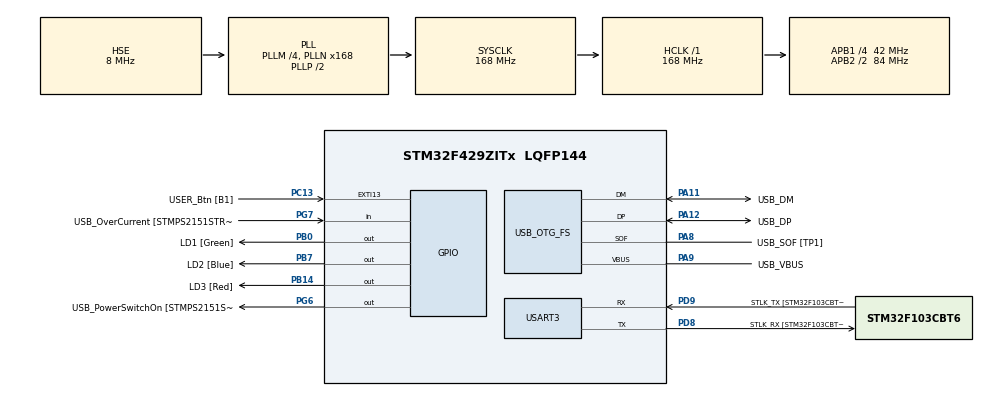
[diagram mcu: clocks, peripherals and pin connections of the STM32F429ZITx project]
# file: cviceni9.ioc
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Mcu.Family=STM32F4
Mcu.Name=STM32F429ZITx
Mcu.Package=LQFP144
NVIC.OTG_FS_IRQn=true\:0\:0\:false\:false\:true\:true\:true
NVIC.PriorityGroup=NVIC_PRIORITYGROUP_4
PA1.GPIO_Label=RMII_REF_CLK [LAN8742A-CZ-TR_REFCLK0]
PA1.Signal=ETH_REF_CLK
PA10.GPIO_Label=USB_ID
PA10.Signal=USB_OTG_FS_ID
PA11.GPIO_Label=USB_DM
PA11.Mode=Device_Only
PA11.Signal=USB_OTG_FS_DM
PA12.GPIO_Label=USB_DP
PA12.Mode=Device_Only
PA12.Signal=USB_OTG_FS_DP
PA13.GPIO_Label=TMS
PA13.Mode=Serial_Wire
PA13.Signal=SYS_JTMS-SWDIO
PA14.GPIO_Label=TCK
PA14.Mode=Serial_Wire
PA14.Signal=SYS_JTCK-SWCLK
PA2.GPIO_Label=RMII_MDIO [LAN8742A-CZ-TR_MDIO]
PA2.Signal=ETH_MDIO
PA7.GPIO_Label=RMII_CRS_DV [LAN8742A-CZ-TR_CRS_DV]
PA7.Signal=ETH_CRS_DV
PA8.GPIO_Label=USB_SOF [TP1]
PA8.Mode=Activate_SOF_FS
PA8.Signal=USB_OTG_FS_SOF
PA9.GPIO_Label=USB_VBUS
PA9.Mode=Activate_VBUS
PA9.Signal=USB_OTG_FS_VBUS
PB0.GPIO_Label=LD1 [Green]
PB0.Signal=GPIO_Output
PB13.GPIO_Label=RMII_TXD1 [LAN8742A-CZ-TR_TXD1]
PB13.Signal=ETH_TXD1
PB14.GPIO_Label=LD3 [Red]
PB14.Signal=GPIO_Output
PB7.GPIO_Label=LD2 [Blue]
PB7.Signal=GPIO_Output
PC1.GPIO_Label=RMII_MDC [LAN8742A-CZ-TR_MDC]
PC1.Signal=ETH_MDC
PC13.GPIO_Label=USER_Btn [B1]
PC13.Signal=GPXTI13
PC14/OSC32_IN.Mode=LSE-External-Oscillator
PC14/OSC32_IN.Signal=RCC_OSC32_IN
PC15/OSC32_OUT.Mode=LSE-External-Oscillator
PC15/OSC32_OUT.Signal=RCC_OSC32_OUT
PC4.GPIO_Label=RMII_RXD0 [LAN8742A-CZ-TR_RXD0]
PC4.Signal=ETH_RXD0
PC5.GPIO_Label=RMII_RXD1 [LAN8742A-CZ-TR_RXD1]
PC5.Signal=ETH_RXD1
PD8.GPIO_Label=STLK_RX [STM32F103CBT6_PA3]
PD8.Mode=Asynchronous
PD8.Signal=USART3_TX
PD9.GPIO_Label=STLK_TX [STM32F103CBT6_PA2]
PD9.Mode=Asynchronous
PD9.Signal=USART3_RX
PG11.GPIO_Label=RMII_TX_EN [LAN8742A-CZ-TR_TXEN]
PG11.Signal=ETH_TX_EN
PG13.GPIO_Label=RMII_TXD0 [LAN8742A-CZ-TR_TXD0]
PG13.Signal=ETH_TXD0
PG6.GPIO_Label=USB_PowerSwitchOn [STMPS2151STR_EN]
PG6.Signal=GPIO_Output
PG7.GPIO_Label=USB_OverCurrent [STMPS2151STR_FAULT]
PG7.Signal=GPIO_Input
PH0/OSC_IN.GPIO_Label=MCO [STM32F103CBT6_PA8]
PH0/OSC_IN.Mode=HSE-External-Clock-Source
PH0/OSC_IN.Signal=RCC_OSC_IN
PH1/OSC_OUT.Mode=HSE-External-Clock-Source
PH1/OSC_OUT.Signal=RCC_OSC_OUT
ProjectManager.HeapSize=0x200
ProjectManager.StackSize=0x400
ProjectManager.TargetToolchain=STM32CubeIDE
RCC.48MHZClocksFreq_Value=48000000
RCC.AHBFreq_Value=168000000
RCC.APB1CLKDivider=RCC_HCLK_DIV4
RCC.APB1Freq_Value=42000000
RCC.APB1TimFreq_Value=84000000
RCC.APB2CLKDivider=RCC_HCLK_DIV2
RCC.APB2Freq_Value=84000000
RCC.APB2TimCLKDivider=2
RCC.APB2TimFreq_Value=168000000
RCC.CortexFreq_Value=168000000
RCC.HCLKFreq_Value=168000000
RCC.HSE_VALUE=8000000
RCC.HSI_VALUE=16000000
RCC.PLLM=4
RCC.PLLMUL=RCC_PLL_MUL9
RCC.PLLN=168
RCC.PLLQ=7
RCC.PRESCALERUSB=RCC_USBCLKSOURCE_PLL_DIV1_5
RCC.SYSCLKFreq_VALUE=168000000
RCC.SYSCLKSource=RCC_SYSCLKSOURCE_PLLCLK
RCC.SYSCLKSourceVirtual=RCC_SYSCLKSOURCE_PLLCLK
RCC.USBFreq_Value=48000000
RCC.VCOOutputFreq_Value=336000000
USART3.VirtualMode=VM_ASYNC
USB_DEVICE.CLASS_NAME_FS=HID
USB_DEVICE.VirtualMode-HID_FS=Hid
USB_DEVICE.VirtualModeFS=Hid_FS
USB_OTG_FS.VirtualMode=Device_Only
VP_USB_DEVICE_VS_USB_DEVICE_HID_FS.Mode=HID_FS
board=NUCLEO-F429ZI

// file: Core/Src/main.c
/* USER CODE BEGIN Header */
/**
  ******************************************************************************
  * @file           : main.c
  * @brief          : Main program body
  ******************************************************************************
  * @attention
  *
  * <h2><center>&copy; Copyright (c) 2021 STMicroelectronics.
  * All rights reserved.</center></h2>
  *
  * This software component is licensed by ST under BSD 3-Clause license,
  * the "License"; You may not use this file except in compliance with the
  * License. You may obtain a copy of the License at:
  *                        opensource.org/licenses/BSD-3-Clause
  *
  ******************************************************************************
  */
/* USER CODE END Header */
#include "main.h"
#include "usb_device.h"

/* USER CODE BEGIN Includes */
#include "usbd_hid.h"
#include <math.h>
#include <stdbool.h>

/* USER CODE END Includes */

UART_HandleTypeDef huart3;

/* USER CODE BEGIN PV */

extern USBD_HandleTypeDef hUsbDeviceFS;

/* USER CODE END PV */

void SystemClock_Config(void);
static void MX_GPIO_Init(void);
static void MX_USART3_UART_Init(void);

/* USER CODE BEGIN 0 */
static void step(int  x,  int  y,  bool  btn){
	uint8_t buff[4];
	if(btn == 1){
		buff[0] = 0x01; // stiskni leve tlacitko
	}
	else {
		buff[0] = 0x00;
	}
	buff[1] = (int8_t)(x);
	buff[2] = (int8_t)(y);
	buff[3] = 0; // bez scrollu
	USBD_HID_SendReport(&hUsbDeviceFS, buff, sizeof(buff));
	HAL_Delay(USBD_HID_GetPollingInterval(&hUsbDeviceFS));
}

static void drawCircle(float radius, float maxPhi, float minPhi){
	float x, y, dx, dy;
	int16_t sx = 0;
	int16_t sy = (int16_t)(radius);
	float radStep = (2*maxPhi)/35;
	for(float phi = minPhi; phi < 2*maxPhi; phi = phi+radStep){
		x = radius*cos(phi);
		y = radius*sin(phi);

		dx = x-sx;
		dy = y-sy;

		step(dx,  dy,  1);

		sx = sx+dx;
		sy = sy+dy;
	}
}

static void drawSmile(float faceSize){

// Positive values - LEFT, DOWN
// Negative values / RIGHT, UP
	step(0, 0, 0);
	drawCircle(faceSize, M_PI, 0);
//	Left eye
	step(0, 0,  0);
	step(-faceSize/2, -faceSize/5,  0);
	step(faceSize/5, 0,  0);
	drawCircle(faceSize/6, M_PI, 0);
//	Right eye
	step(0, 0,  0);
	step(-(faceSize/6+faceSize/2), 0,  0);
	drawCircle(faceSize/6, M_PI, 0);
//nose
	step(0, 0,  0);
	step(faceSize/4, faceSize/3,  0);
	step(0, 0, 1);
	step(0, faceSize/5, 1);

//SMIIILLLEEE
	step(0, 0,  0);
	step(faceSize/3, faceSize/5,  0);
	step(0, 0, 1);
//	drawCircle(faceSize/6, M_PI, 0);
	drawCircle(faceSize*0.8, M_PI*0.2, M_PI*0.6);

	step(0, 0,  0);
}

/* USER CODE END 0 */

int main(void)
{

  /* MCU Configuration--------------------------------------------------------*/

  /* Reset of all peripherals, Initializes the Flash interface and the Systick. */
  HAL_Init();

  /* Configure the system clock */
  SystemClock_Config();

  /* Initialize all configured peripherals */
  MX_GPIO_Init();
  MX_USART3_UART_Init();
  MX_USB_DEVICE_Init();

  /* Infinite loop */
  /* USER CODE BEGIN WHILE */
  while (1)
  {

	do {HAL_Delay(40); }
	while(!HAL_GPIO_ReadPin(USER_Btn_GPIO_Port, USER_Btn_Pin));
	drawSmile(80);

//	uint8_t buff[4];
//	buff[0] = 0x01; // stiskni leve tlacitko
//	buff[1] = (int8_t)(10); // posun X +10
//	buff[2] = (int8_t)(-3); // posun Y -3
//	buff[3] = 0; // bez scrollu
//	USBD_HID_SendReport(&hUsbDeviceFS, buff, sizeof(buff));
//	HAL_Delay(USBD_HID_GetPollingInterval(&hUsbDeviceFS));
    /* USER CODE END WHILE */

  }
}

void SystemClock_Config(void)
{
  RCC_OscInitTypeDef RCC_OscInitStruct = {0};
  RCC_ClkInitTypeDef RCC_ClkInitStruct = {0};

  /** Configure the main internal regulator output voltage
  */
  __HAL_RCC_PWR_CLK_ENABLE();
  __HAL_PWR_VOLTAGESCALING_CONFIG(PWR_REGULATOR_VOLTAGE_SCALE1);
  /** Initializes the RCC Oscillators according to the specified parameters
  * in the RCC_OscInitTypeDef structure.
  */
  RCC_OscInitStruct.OscillatorType = RCC_OSCILLATORTYPE_HSE;
  RCC_OscInitStruct.HSEState = RCC_HSE_BYPASS;
  RCC_OscInitStruct.PLL.PLLState = RCC_PLL_ON;
  RCC_OscInitStruct.PLL.PLLSource = RCC_PLLSOURCE_HSE;
  RCC_OscInitStruct.PLL.PLLM = 4;
  RCC_OscInitStruct.PLL.PLLN = 168;
  RCC_OscInitStruct.PLL.PLLP = RCC_PLLP_DIV2;
  RCC_OscInitStruct.PLL.PLLQ = 7;
  if (HAL_RCC_OscConfig(&RCC_OscInitStruct) != HAL_OK)
  {
    Error_Handler();
  }
  /** Initializes the CPU, AHB and APB buses clocks
  */
  RCC_ClkInitStruct.ClockType = RCC_CLOCKTYPE_HCLK|RCC_CLOCKTYPE_SYSCLK
                              |RCC_CLOCKTYPE_PCLK1|RCC_CLOCKTYPE_PCLK2;
  RCC_ClkInitStruct.SYSCLKSource = RCC_SYSCLKSOURCE_PLLCLK;
  RCC_ClkInitStruct.AHBCLKDivider = RCC_SYSCLK_DIV1;
  RCC_ClkInitStruct.APB1CLKDivider = RCC_HCLK_DIV4;
  RCC_ClkInitStruct.APB2CLKDivider = RCC_HCLK_DIV2;

  if (HAL_RCC_ClockConfig(&RCC_ClkInitStruct, FLASH_LATENCY_5) != HAL_OK)
  {
    Error_Handler();
  }
}

static void MX_USART3_UART_Init(void)
{

  huart3.Instance = USART3;
  huart3.Init.BaudRate = 115200;
  huart3.Init.WordLength = UART_WORDLENGTH_8B;
  huart3.Init.StopBits = UART_STOPBITS_1;
  huart3.Init.Parity = UART_PARITY_NONE;
  huart3.Init.Mode = UART_MODE_TX_RX;
  huart3.Init.HwFlowCtl = UART_HWCONTROL_NONE;
  huart3.Init.OverSampling = UART_OVERSAMPLING_16;
  if (HAL_UART_Init(&huart3) != HAL_OK)
  {
    Error_Handler();
  }

}

static void MX_GPIO_Init(void)
{
  GPIO_InitTypeDef GPIO_InitStruct = {0};

  /* GPIO Ports Clock Enable */
  __HAL_RCC_GPIOC_CLK_ENABLE();
  __HAL_RCC_GPIOH_CLK_ENABLE();
  __HAL_RCC_GPIOA_CLK_ENABLE();
  __HAL_RCC_GPIOB_CLK_ENABLE();
  __HAL_RCC_GPIOD_CLK_ENABLE();
  __HAL_RCC_GPIOG_CLK_ENABLE();

  /*Configure GPIO pin Output Level */
  HAL_GPIO_WritePin(GPIOB, LD1_Pin|LD3_Pin|LD2_Pin, GPIO_PIN_RESET);

  /*Configure GPIO pin Output Level */
  HAL_GPIO_WritePin(USB_PowerSwitchOn_GPIO_Port, USB_PowerSwitchOn_Pin, GPIO_PIN_RESET);

  /*Configure GPIO pin : USER_Btn_Pin */
  GPIO_InitStruct.Pin = USER_Btn_Pin;
  GPIO_InitStruct.Mode = GPIO_MODE_IT_RISING;
  GPIO_InitStruct.Pull = GPIO_NOPULL;
  HAL_GPIO_Init(USER_Btn_GPIO_Port, &GPIO_InitStruct);

  /*Configure GPIO pins : RMII_MDC_Pin RMII_RXD0_Pin RMII_RXD1_Pin */
  GPIO_InitStruct.Pin = RMII_MDC_Pin|RMII_RXD0_Pin|RMII_RXD1_Pin;
  GPIO_InitStruct.Mode = GPIO_MODE_AF_PP;
  GPIO_InitStruct.Pull = GPIO_NOPULL;
  GPIO_InitStruct.Speed = GPIO_SPEED_FREQ_VERY_HIGH;
  GPIO_InitStruct.Alternate = GPIO_AF11_ETH;
  HAL_GPIO_Init(GPIOC, &GPIO_InitStruct);

  /*Configure GPIO pins : RMII_REF_CLK_Pin RMII_MDIO_Pin RMII_CRS_DV_Pin */
  GPIO_InitStruct.Pin = RMII_REF_CLK_Pin|RMII_MDIO_Pin|RMII_CRS_DV_Pin;
  GPIO_InitStruct.Mode = GPIO_MODE_AF_PP;
  GPIO_InitStruct.Pull = GPIO_NOPULL;
  GPIO_InitStruct.Speed = GPIO_SPEED_FREQ_VERY_HIGH;
  GPIO_InitStruct.Alternate = GPIO_AF11_ETH;
  HAL_GPIO_Init(GPIOA, &GPIO_InitStruct);

  /*Configure GPIO pins : LD1_Pin LD3_Pin LD2_Pin */
  GPIO_InitStruct.Pin = LD1_Pin|LD3_Pin|LD2_Pin;
  GPIO_InitStruct.Mode = GPIO_MODE_OUTPUT_PP;
  GPIO_InitStruct.Pull = GPIO_NOPULL;
  GPIO_InitStruct.Speed = GPIO_SPEED_FREQ_LOW;
  HAL_GPIO_Init(GPIOB, &GPIO_InitStruct);

  /*Configure GPIO pin : RMII_TXD1_Pin */
  GPIO_InitStruct.Pin = RMII_TXD1_Pin;
  GPIO_InitStruct.Mode = GPIO_MODE_AF_PP;
  GPIO_InitStruct.Pull = GPIO_NOPULL;
  GPIO_InitStruct.Speed = GPIO_SPEED_FREQ_VERY_HIGH;
  GPIO_InitStruct.Alternate = GPIO_AF11_ETH;
  HAL_GPIO_Init(RMII_TXD1_GPIO_Port, &GPIO_InitStruct);

  /*Configure GPIO pin : USB_PowerSwitchOn_Pin */
  GPIO_InitStruct.Pin = USB_PowerSwitchOn_Pin;
  GPIO_InitStruct.Mode = GPIO_MODE_OUTPUT_PP;
  GPIO_InitStruct.Pull = GPIO_NOPULL;
  GPIO_InitStruct.Speed = GPIO_SPEED_FREQ_LOW;
  HAL_GPIO_Init(USB_PowerSwitchOn_GPIO_Port, &GPIO_InitStruct);

  /*Configure GPIO pin : USB_OverCurrent_Pin */
  GPIO_InitStruct.Pin = USB_OverCurrent_Pin;
  GPIO_InitStruct.Mode = GPIO_MODE_INPUT;
  GPIO_InitStruct.Pull = GPIO_NOPULL;
  HAL_GPIO_Init(USB_OverCurrent_GPIO_Port, &GPIO_InitStruct);

  /*Configure GPIO pins : RMII_TX_EN_Pin RMII_TXD0_Pin */
  GPIO_InitStruct.Pin = RMII_TX_EN_Pin|RMII_TXD0_Pin;
  GPIO_InitStruct.Mode = GPIO_MODE_AF_PP;
  GPIO_InitStruct.Pull = GPIO_NOPULL;
  GPIO_InitStruct.Speed = GPIO_SPEED_FREQ_VERY_HIGH;
  GPIO_InitStruct.Alternate = GPIO_AF11_ETH;
  HAL_GPIO_Init(GPIOG, &GPIO_InitStruct);

}

void Error_Handler(void)
{
  __disable_irq();
  while (1)
  {
  }
}

/************************ (C) COPYRIGHT STMicroelectronics *****END OF FILE****/
